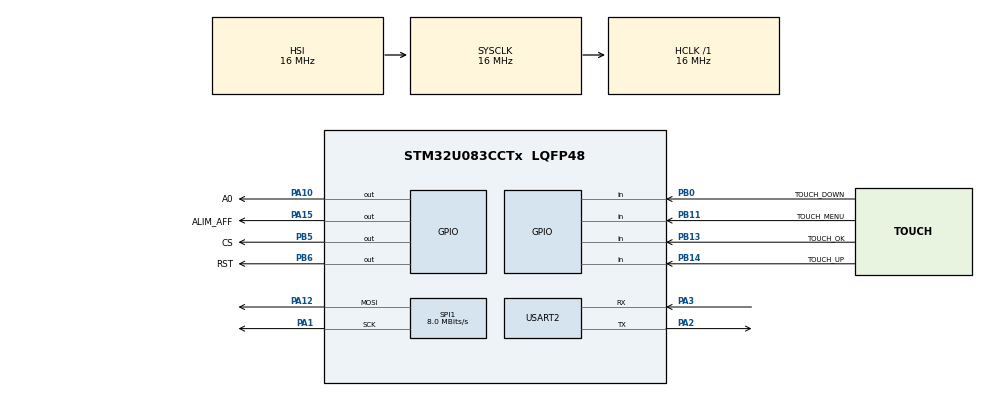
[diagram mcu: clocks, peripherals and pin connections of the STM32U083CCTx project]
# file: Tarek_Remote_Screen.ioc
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Mcu.Family=STM32U0
Mcu.Name=STM32U083CCTx
Mcu.Package=LQFP48
NVIC.PriorityGroup=NVIC_PRIORITYGROUP_2
NVIC.USART2_LPUART2_IRQn=true\:0\:0\:false\:false\:true\:true\:true\:true
PA1.Mode=TX_Only_Simplex_Unidirect_Master
PA1.Signal=SPI1_SCK
PA10.GPIO_Label=A0
PA10.Signal=GPIO_Output
PA12\ [PA10].Mode=TX_Only_Simplex_Unidirect_Master
PA12\ [PA10].Signal=SPI1_MOSI
PA15.GPIO_Label=ALIM_AFF
PA15.Signal=GPIO_Output
PA2.Mode=Asynchronous
PA2.Signal=USART2_TX
PA3.Mode=Asynchronous
PA3.Signal=USART2_RX
PB0.GPIO_Label=TOUCH_DOWN
PB0.Signal=GPIO_Input
PB11.GPIO_Label=TOUCH_MENU
PB11.Signal=GPIO_Input
PB13.GPIO_Label=TOUCH_OK
PB13.Signal=GPIO_Input
PB14.GPIO_Label=TOUCH_UP
PB14.Signal=GPIO_Input
PB5.GPIO_Label=CS
PB5.Signal=GPIO_Output
PB6.GPIO_Label=RST
PB6.Signal=GPIO_Output
ProjectManager.HeapSize=0x200
ProjectManager.StackSize=0x400
ProjectManager.TargetToolchain=STM32CubeIDE
RCC.AHBFreq_Value=16000000
RCC.CortexFreq_Value=16000000
RCC.HCLKFreq_Value=16000000
RCC.HSE_VALUE=4000000
RCC.HSI48_VALUE=48000000
RCC.HSI_VALUE=16000000
RCC.LSE_VALUE=32768
RCC.MSI_VALUE=4000000
RCC.SYSCLKFreq_VALUE=16000000
RCC.VCOOutputFreq_Value=64000000
SPI1.CalculateBaudRate=8.0 MBits/s
SPI1.DataSize=SPI_DATASIZE_8BIT
SPI1.Direction=SPI_DIRECTION_2LINES
SPI1.Mode=SPI_MODE_MASTER
SPI1.VirtualType=VM_MASTER
USART2.VirtualMode-Asynchronous=VM_ASYNC
VP_PWR_VS_SECSignals.Mode=Security/Privilege
board=custom

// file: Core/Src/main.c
/* USER CODE BEGIN Header */
/**
  ******************************************************************************
  * @file           : main.c
  * @brief          : Main program body
  ******************************************************************************
  * @attention
  *
  * Copyright (c) 2026 STMicroelectronics.
  * All rights reserved.
  *
  * This software is licensed under terms that can be found in the LICENSE file
  * in the root directory of this software component.
  * If no LICENSE file comes with this software, it is provided AS-IS.
  *
  ******************************************************************************
  */
/* USER CODE END Header */
#include "main.h"
#include "lcd.h"
#include "graphics.h"
/* USER CODE BEGIN Includes */
#include "variables_globales.h" // Bibliotheque de des variables utlisés
#include <string.h>
/* USER CODE END Includes */

SPI_HandleTypeDef hspi1;

UART_HandleTypeDef huart2;

/* USER CODE BEGIN PV */
//------------NOUVEAU-----------------
// ---- Instanciation des variables globales ----
time_t temps = 0;
struct tm tm_temps = {0};
signed char UTC = 1;        // Par défaut (ex: hiver France)
signed char absUTC = 1;

long tensionpile = 645;     // Simulons une pile pleine au démarrage
char langue = 2;            // Par défaut : 2 (Français)

char modeO = 1;             // Heure fixe par défaut
char modeF = 1;             // Heure fixe par défaut
signed char heureO = 8;     // Ouvre à 8h00
signed char minO = 0;
signed char heureF = 20;    // Ferme à 20h00
signed char minF = 0;
char signed minretard = 15; // 15 min de retard par défaut

signed char latitude = 48;  // Ex: Paris
int longitude = 2;          // Ex: Paris
char choixi = 1;

// VARIABLES DE NAVIGATION (Globales pour être vues par menu.c)
uint8_t ON = 0;
uint8_t DWN = 0;
uint8_t HUP = 0;
uint8_t RTN = 0;
uint8_t ecran = 0; // état de la machine d'état (0 = Accueil)
/* USER CODE END PV */

void SystemClock_Config(void);
static void MX_GPIO_Init(void);
static void MX_SPI1_Init(void);
static void MX_USART2_UART_Init(void);

/* USER CODE BEGIN 0 */
// Variables globales de tes boutons
uint8_t touche_ON = 0;
uint8_t touche_DWN = 0;
uint8_t touche_HUP = 0;
uint8_t touche_RTN = 0;

void lire_commandes_Docklight(void) {
    static char rx_buffer[10]; // Stocke le mot en cours de réception
    static uint8_t index = 0;
    uint8_t rx_char;

    // Remise à zéro des boutons à chaque passage
    touche_ON = 0;
    touche_DWN = 0;
    touche_HUP = 0;
    touche_RTN = 0;

    // Lecture d'un caractère (non bloquant)
    if (HAL_UART_Receive(&huart2, &rx_char, 1, 0) == HAL_OK) {
        // Si on reçoit 'Entrée' (\r ou \n), le mot est complet
        if (rx_char == '\r' || rx_char == '\n') {
            rx_buffer[index] = '\0'; // On termine la chaîne de caractères

            // On compare le mot reçu
                        if (strcmp(rx_buffer, "ON") == 0) {
                            touche_ON = 1;
                            char msg[] = "--> Action: ON\r\n";
                            HAL_UART_Transmit(&huart2, (uint8_t*)msg, strlen(msg), 100);
                        }
                        else if (strcmp(rx_buffer, "DWN") == 0) {
                            touche_DWN = 1;
                            char msg[] = "--> Action: DWN\r\n";
                            HAL_UART_Transmit(&huart2, (uint8_t*)msg, strlen(msg), 100);
                        }
                        else if (strcmp(rx_buffer, "HUP") == 0) {
                            touche_HUP = 1;
                            char msg[] = "--> Action: HUP\r\n";
                            HAL_UART_Transmit(&huart2, (uint8_t*)msg, strlen(msg), 100);
                        }
                        else if (strcmp(rx_buffer, "RTN") == 0) {
                            touche_RTN = 1;
                            char msg[] = "--> Action: RTN\r\n";
                            HAL_UART_Transmit(&huart2, (uint8_t*)msg, strlen(msg), 100);
                        }
        		}
        else {
            // Sinon, on ajoute la lettre au mot (si on ne dépasse pas la taille du buffer)
            if (index < 9) {
                rx_buffer[index] = (char)rx_char;
                index++;
            }
        }
    }
}
/* USER CODE END 0 */

int main(void)
{

  /* MCU Configuration--------------------------------------------------------*/

  /* Reset of all peripherals, Initializes the Flash interface and the Systick. */
  HAL_Init();

  /* Configure the system clock */
  SystemClock_Config();

  /* Initialize all configured peripherals */
  MX_GPIO_Init();
  MX_SPI1_Init();
  MX_USART2_UART_Init();
  /* USER CODE BEGIN 2 */

    // 1. Initialisation de l'écran
    initialise_LCD();
    setOrientation(4);
    // 2. Nettoyer l'écran (fond noir)
    // blackWhite = 1 selon ta fonction clearScreen mettra le fond en 0x0000 (Noir)
    clearScreen(1);

    // 3. Configuration des couleurs pour le texte
    // F800 = Rouge, 0xFFFF = Blanc, 0x07E0 = Vert

    // "1 2 3" en Blanc
    setColor(0xFFFF);
    setBackgroundColor(0x0000);
    drawString(20, 30, FONT_LG, "1 2 3");

    // "VIVA" en Vert
    setColor(0x07E0);
    drawString(20, 60, FONT_LG, "VIVA");

    // "L'ALGERIE !" en Rouge
    setColor(0xF800);
    drawString(20, 90, FONT_LG, "L'ALGERIE !");

    char message_init[] = "\r\n=== LIAISON SERIE INITIALISEE ===\r\nEnvoyez ON, DWN, HUP ou RTN pour naviguer.\r\n";
     HAL_UART_Transmit(&huart2, (uint8_t*)message_init, strlen(message_init), HAL_MAX_DELAY);

    /* USER CODE END 2 */
  /* Infinite loop */
  /* USER CODE BEGIN WHILE */
  while (1)
  {
	  // 1. Lire les mots venant de Docklight
	        lire_commandes_Docklight();

	        // 2. Transférer aux variables de ta machine à états
	        ON = touche_ON;
	        DWN = touche_DWN;
	        HUP = touche_HUP;
	        RTN = touche_RTN;

	        // 3. Ta machine à états .
	        menu(); // Appel de ta machine à états
    /* USER CODE END WHILE */

  }
}

void SystemClock_Config(void)
{
  RCC_OscInitTypeDef RCC_OscInitStruct = {0};
  RCC_ClkInitTypeDef RCC_ClkInitStruct = {0};

  /** Configure the main internal regulator output voltage
  */
  HAL_PWREx_ControlVoltageScaling(PWR_REGULATOR_VOLTAGE_SCALE2);

  /** Initializes the RCC Oscillators according to the specified parameters
  * in the RCC_OscInitTypeDef structure.
  */
  RCC_OscInitStruct.OscillatorType = RCC_OSCILLATORTYPE_HSI;
  RCC_OscInitStruct.HSIState = RCC_HSI_ON;
  RCC_OscInitStruct.HSICalibrationValue = RCC_HSICALIBRATION_DEFAULT;
  RCC_OscInitStruct.PLL.PLLState = RCC_PLL_NONE;
  if (HAL_RCC_OscConfig(&RCC_OscInitStruct) != HAL_OK)
  {
    Error_Handler();
  }

  /** Initializes the CPU, AHB and APB buses clocks
  */
  RCC_ClkInitStruct.ClockType = RCC_CLOCKTYPE_HCLK|RCC_CLOCKTYPE_SYSCLK
                              |RCC_CLOCKTYPE_PCLK1;
  RCC_ClkInitStruct.SYSCLKSource = RCC_SYSCLKSOURCE_HSI;
  RCC_ClkInitStruct.AHBCLKDivider = RCC_SYSCLK_DIV1;
  RCC_ClkInitStruct.APB1CLKDivider = RCC_HCLK_DIV1;

  if (HAL_RCC_ClockConfig(&RCC_ClkInitStruct, FLASH_LATENCY_1) != HAL_OK)
  {
    Error_Handler();
  }
}

static void MX_SPI1_Init(void)
{

  /* SPI1 parameter configuration*/
  hspi1.Instance = SPI1;
  hspi1.Init.Mode = SPI_MODE_MASTER;
  hspi1.Init.Direction = SPI_DIRECTION_2LINES;
  hspi1.Init.DataSize = SPI_DATASIZE_8BIT;
  hspi1.Init.CLKPolarity = SPI_POLARITY_LOW;
  hspi1.Init.CLKPhase = SPI_PHASE_1EDGE;
  hspi1.Init.NSS = SPI_NSS_SOFT;
  hspi1.Init.BaudRatePrescaler = SPI_BAUDRATEPRESCALER_2;
  hspi1.Init.FirstBit = SPI_FIRSTBIT_MSB;
  hspi1.Init.TIMode = SPI_TIMODE_DISABLE;
  hspi1.Init.CRCCalculation = SPI_CRCCALCULATION_DISABLE;
  hspi1.Init.CRCPolynomial = 7;
  hspi1.Init.CRCLength = SPI_CRC_LENGTH_DATASIZE;
  hspi1.Init.NSSPMode = SPI_NSS_PULSE_ENABLE;
  if (HAL_SPI_Init(&hspi1) != HAL_OK)
  {
    Error_Handler();
  }

}

static void MX_USART2_UART_Init(void)
{

  huart2.Instance = USART2;
  huart2.Init.BaudRate = 115200;
  huart2.Init.WordLength = UART_WORDLENGTH_8B;
  huart2.Init.StopBits = UART_STOPBITS_1;
  huart2.Init.Parity = UART_PARITY_NONE;
  huart2.Init.Mode = UART_MODE_TX_RX;
  huart2.Init.HwFlowCtl = UART_HWCONTROL_NONE;
  huart2.Init.OverSampling = UART_OVERSAMPLING_16;
  huart2.Init.OneBitSampling = UART_ONE_BIT_SAMPLE_DISABLE;
  huart2.Init.ClockPrescaler = UART_PRESCALER_DIV1;
  huart2.AdvancedInit.AdvFeatureInit = UART_ADVFEATURE_NO_INIT;
  if (HAL_UART_Init(&huart2) != HAL_OK)
  {
    Error_Handler();
  }
  if (HAL_UARTEx_SetTxFifoThreshold(&huart2, UART_TXFIFO_THRESHOLD_1_8) != HAL_OK)
  {
    Error_Handler();
  }
  if (HAL_UARTEx_SetRxFifoThreshold(&huart2, UART_RXFIFO_THRESHOLD_1_8) != HAL_OK)
  {
    Error_Handler();
  }
  if (HAL_UARTEx_DisableFifoMode(&huart2) != HAL_OK)
  {
    Error_Handler();
  }

}

static void MX_GPIO_Init(void)
{
  GPIO_InitTypeDef GPIO_InitStruct = {0};

  /* GPIO Ports Clock Enable */
  __HAL_RCC_GPIOA_CLK_ENABLE();
  __HAL_RCC_GPIOB_CLK_ENABLE();

  /*Configure GPIO pin Output Level */
  HAL_GPIO_WritePin(GPIOA, A0_Pin|ALIM_AFF_Pin, GPIO_PIN_RESET);

  /*Configure GPIO pin Output Level */
  HAL_GPIO_WritePin(GPIOB, CS_Pin|RST_Pin, GPIO_PIN_RESET);

  /*Configure GPIO pins : TOUCH_DOWN_Pin TOUCH_MENU_Pin TOUCH_OK_Pin TOUCH_UP_Pin */
  GPIO_InitStruct.Pin = TOUCH_DOWN_Pin|TOUCH_MENU_Pin|TOUCH_OK_Pin|TOUCH_UP_Pin;
  GPIO_InitStruct.Mode = GPIO_MODE_INPUT;
  GPIO_InitStruct.Pull = GPIO_NOPULL;
  HAL_GPIO_Init(GPIOB, &GPIO_InitStruct);

  /*Configure GPIO pins : A0_Pin ALIM_AFF_Pin */
  GPIO_InitStruct.Pin = A0_Pin|ALIM_AFF_Pin;
  GPIO_InitStruct.Mode = GPIO_MODE_OUTPUT_PP;
  GPIO_InitStruct.Pull = GPIO_NOPULL;
  GPIO_InitStruct.Speed = GPIO_SPEED_FREQ_LOW;
  HAL_GPIO_Init(GPIOA, &GPIO_InitStruct);

  /*Configure GPIO pins : CS_Pin RST_Pin */
  GPIO_InitStruct.Pin = CS_Pin|RST_Pin;
  GPIO_InitStruct.Mode = GPIO_MODE_OUTPUT_PP;
  GPIO_InitStruct.Pull = GPIO_NOPULL;
  GPIO_InitStruct.Speed = GPIO_SPEED_FREQ_LOW;
  HAL_GPIO_Init(GPIOB, &GPIO_InitStruct);

}

void Error_Handler(void)
{
  __disable_irq();
  while (1)
  {
  }
}
